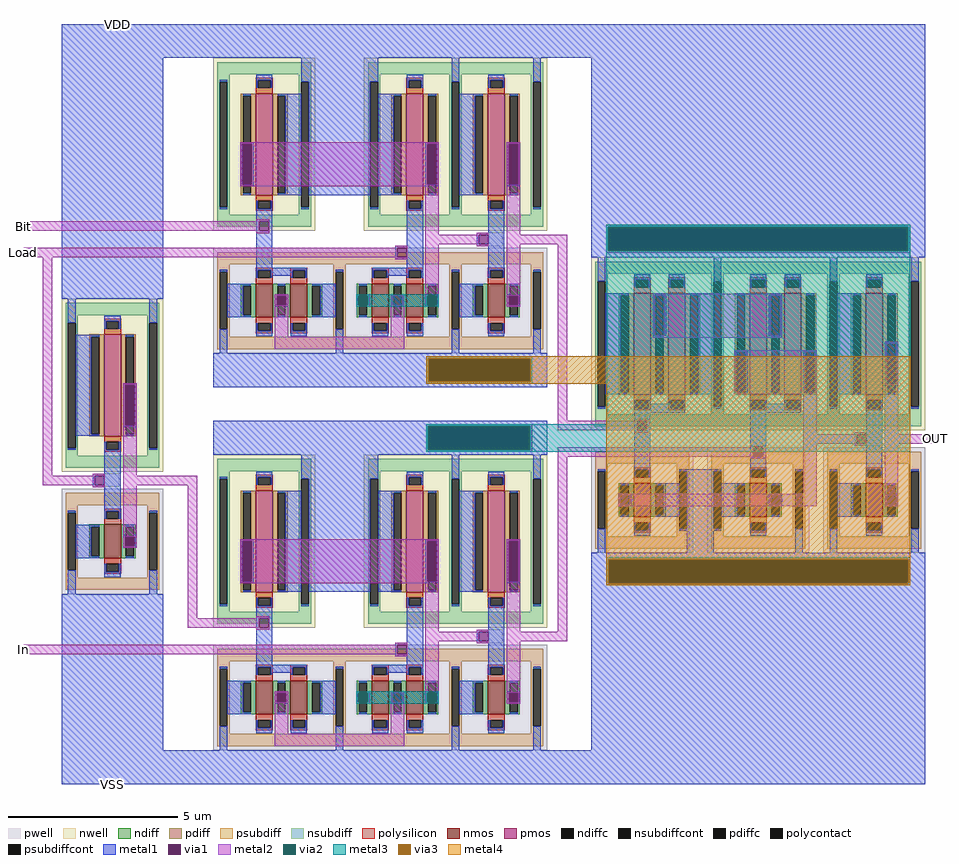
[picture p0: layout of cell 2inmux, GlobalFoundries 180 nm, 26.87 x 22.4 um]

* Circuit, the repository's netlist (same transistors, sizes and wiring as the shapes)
* NGSPICE file created from 2inmux.ext - technology: gf180mcuD

.subckt or2 VDD VSS OUT A B
X0 OUT a_268_670# VSS VSS nfet_03v3 ad=0.44p pd=2.88u as=0.44p ps=2.88u w=1u l=0.5u
X1 OUT a_268_670# VDD VDD pfet_03v3 ad=1.32p pd=6.88u as=1.32p ps=6.88u w=3u l=0.5u
X2 a_456_1390# A VDD VDD pfet_03v3 ad=0.78p pd=3.52u as=1.32p ps=6.88u w=3u l=0.5u
X3 a_456_1390# B a_268_670# VDD pfet_03v3 ad=0.78p pd=3.52u as=1.32p ps=6.88u w=3u l=0.5u
X4 a_268_670# B a_456_1390# VDD pfet_03v3 ad=1.32p pd=6.88u as=0.78p ps=3.52u w=3u l=0.5u
X5 VSS A a_268_670# VSS nfet_03v3 ad=0.44p pd=2.88u as=0.44p ps=2.88u w=1u l=0.5u
X6 VDD A a_456_1390# VDD pfet_03v3 ad=1.32p pd=6.88u as=0.78p ps=3.52u w=3u l=0.5u
X7 a_268_670# B VSS VSS nfet_03v3 ad=0.44p pd=2.88u as=0.44p ps=2.88u w=1u l=0.5u
.ends

.subckt inv2 in vdd out vss
X0 out in vdd vdd pfet_03v3 ad=1.32p pd=6.88u as=1.32p ps=6.88u w=3u l=0.5u
X1 out in vss vss nfet_03v3 ad=0.44p pd=2.88u as=0.44p ps=2.88u w=1u l=0.5u
.ends

.subckt and2 VDD OUT A B VSS
X0 a_n1203_400# B a_n1391_1120# VSS nfet_03v3 ad=0.26p pd=1.52u as=0.44p ps=2.88u w=1u l=0.5u
X1 a_n1203_400# A VSS VSS nfet_03v3 ad=0.26p pd=1.52u as=0.44p ps=2.88u w=1u l=0.5u
X2 a_n1391_1120# B VDD VDD pfet_03v3 ad=1.32p pd=6.88u as=1.32p ps=6.88u w=3u l=0.5u
X3 OUT a_n1391_1120# VDD VDD pfet_03v3 ad=1.32p pd=6.88u as=1.32p ps=6.88u w=3u l=0.5u
X4 OUT a_n1391_1120# VSS VSS nfet_03v3 ad=0.44p pd=2.88u as=0.44p ps=2.88u w=1u l=0.5u
X5 VSS A a_n1203_400# VSS nfet_03v3 ad=0.44p pd=2.88u as=0.26p ps=1.52u w=1u l=0.5u
X6 VDD A a_n1391_1120# VDD pfet_03v3 ad=1.32p pd=6.88u as=1.32p ps=6.88u w=3u l=0.5u
X7 a_n1391_1120# B a_n1203_400# VSS nfet_03v3 ad=0.44p pd=2.88u as=0.26p ps=1.52u w=1u l=0.5u
.ends

.subckt x2inmux Bit Load VDD OUT VSS In
Xor2_0 VDD VSS OUT or2_0/A or2_0/B or2
Xinv2_0 Load VDD and2_1/A VSS inv2
Xand2_0 VDD or2_0/A Bit Load VSS and2
Xand2_1 VDD or2_0/B and2_1/A In VSS and2
.ends

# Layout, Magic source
magic
tech gf180mcuD
magscale 1 10
<< metal1 >>
rect -800 1940 96 2140
rect 2062 1940 4290 2140
rect -800 720 -200 1940
rect 2322 967 4290 1940
rect 2412 804 2422 944
rect 4190 804 4200 944
rect 1352 30 1362 170
rect 1962 30 1972 170
rect 1352 -370 1362 -230
rect 1962 -370 1972 -230
rect 2412 -1156 2422 -1016
rect 4190 -1156 4200 -1016
rect -800 -2140 -200 -1420
rect 2322 -2140 4290 -1179
rect -800 -2340 96 -2140
rect 2062 -2340 4290 -2140
<< via1 >>
rect 2422 804 4190 944
rect 1362 30 1962 170
rect 1362 -370 1962 -230
rect 2422 -1156 4190 -1016
<< metal2 >>
rect -1024 920 0 976
rect 2410 944 4202 956
rect 2069 842 2181 898
rect -1024 764 0 820
rect -912 -522 -856 764
rect 1350 170 1974 182
rect 1350 30 1362 170
rect 1962 30 1974 170
rect 1350 18 1974 30
rect 2125 -200 2181 842
rect 2410 804 2422 944
rect 4190 804 4202 944
rect 2410 792 4202 804
rect 1350 -230 1974 -218
rect 1350 -370 1362 -230
rect 1962 -370 1974 -230
rect 2125 -256 2318 -200
rect 4294 -334 4350 -278
rect 1350 -382 1974 -370
rect 2125 -412 2263 -356
rect -912 -578 -800 -522
rect -200 -578 0 -522
rect -56 -1420 0 -578
rect 2125 -1442 2181 -412
rect 2410 -1016 4202 -1004
rect 2410 -1156 2422 -1016
rect 4190 -1156 4202 -1016
rect 2410 -1168 4202 -1156
rect 2069 -1498 2181 -1442
rect -1024 -1576 0 -1520
<< via2 >>
rect 1362 30 1962 170
rect 2422 804 4190 944
rect 1362 -370 1962 -230
rect 2422 -1156 4190 -1016
<< metal3 >>
rect 2410 944 4202 956
rect 2410 804 2422 944
rect 4190 804 4202 944
rect 1350 170 1974 182
rect 1350 30 1362 170
rect 1962 30 1974 170
rect 1350 18 1974 30
rect 2410 -218 4202 804
rect 1350 -230 4202 -218
rect 1350 -370 1362 -230
rect 1962 -370 4202 -230
rect 1350 -382 4202 -370
rect 2410 -1016 4202 -1004
rect 2410 -1156 2422 -1016
rect 4190 -1156 4202 -1016
rect 2410 -1168 4202 -1156
<< via3 >>
rect 1362 30 1962 170
rect 2422 -1156 4190 -1016
<< metal4 >>
rect 1350 170 4202 182
rect 1350 30 1362 170
rect 1962 30 4202 170
rect 1350 18 4202 30
rect 2410 -1016 4202 18
rect 2410 -1156 2422 -1016
rect 4190 -1156 4202 -1016
rect 2410 -1168 4202 -1156
use and2  and2_0
transform 1 0 1647 0 1 10
box -1647 -10 422 2130
use and2  and2_1
transform 1 0 1647 0 1 -2330
box -1647 -10 422 2130
use inv2  inv2_0
transform 1 0 -2050 0 1 -50
box 1250 -1370 1850 770
use or2  or2_0
transform 1 0 2216 0 1 -1436
box 46 257 2078 2403
<< labels >>
rlabel metal2 -1024 947 -1024 947 7 Bit
port 0 w
rlabel metal2 -1024 791 -1024 791 7 Load
port 1 w
rlabel metal1 -469 2140 -469 2140 1 VDD
port 2 n
rlabel metal2 4350 -306 4350 -306 3 OUT
port 3 e
rlabel metal1 -500 -2340 -500 -2340 5 VSS
port 4 s
rlabel metal2 -1024 -1549 -1024 -1549 7 In
port 5 w
<< end >>

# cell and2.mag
magic
tech gf180mcuD
magscale 1 10
<< nwell >>
rect -1553 910 -953 1930
rect -665 910 415 1930
<< pwell >>
rect 67 821 153 901
rect -1553 190 415 810
<< nmos >>
rect -1303 400 -1203 600
rect -1099 400 -999 600
rect -619 400 -519 600
rect -415 400 -315 600
rect 65 400 165 600
<< pmos >>
rect -1303 1120 -1203 1720
rect -415 1120 -315 1720
rect 65 1120 165 1720
<< ndiff >>
rect -1391 587 -1303 600
rect -1391 413 -1378 587
rect -1332 413 -1303 587
rect -1391 400 -1303 413
rect -1203 587 -1099 600
rect -1203 413 -1174 587
rect -1128 413 -1099 587
rect -1203 400 -1099 413
rect -999 587 -911 600
rect -999 413 -970 587
rect -924 413 -911 587
rect -999 400 -911 413
rect -707 587 -619 600
rect -707 413 -694 587
rect -648 413 -619 587
rect -707 400 -619 413
rect -519 587 -415 600
rect -519 413 -490 587
rect -444 413 -415 587
rect -519 400 -415 413
rect -315 587 -227 600
rect -315 413 -286 587
rect -240 413 -227 587
rect -315 400 -227 413
rect -23 587 65 600
rect -23 413 -10 587
rect 36 413 65 587
rect -23 400 65 413
rect 165 587 253 600
rect 165 413 194 587
rect 240 413 253 587
rect 165 400 253 413
<< pdiff >>
rect -1391 1707 -1303 1720
rect -1391 1133 -1378 1707
rect -1332 1133 -1303 1707
rect -1391 1120 -1303 1133
rect -1203 1707 -1115 1720
rect -1203 1133 -1174 1707
rect -1128 1133 -1115 1707
rect -1203 1120 -1115 1133
rect -503 1707 -415 1720
rect -503 1133 -490 1707
rect -444 1133 -415 1707
rect -503 1120 -415 1133
rect -315 1707 -227 1720
rect -315 1133 -286 1707
rect -240 1133 -227 1707
rect -315 1120 -227 1133
rect -23 1707 65 1720
rect -23 1133 -10 1707
rect 36 1133 65 1707
rect -23 1120 65 1133
rect 165 1707 253 1720
rect 165 1133 194 1707
rect 240 1133 253 1707
rect 165 1120 253 1133
<< ndiffc >>
rect -1378 413 -1332 587
rect -1174 413 -1128 587
rect -970 413 -924 587
rect -694 413 -648 587
rect -490 413 -444 587
rect -286 413 -240 587
rect -10 413 36 587
rect 194 413 240 587
<< pdiffc >>
rect -1378 1133 -1332 1707
rect -1174 1133 -1128 1707
rect -490 1133 -444 1707
rect -286 1133 -240 1707
rect -10 1133 36 1707
rect 194 1133 240 1707
<< psubdiff >>
rect -1529 714 391 786
rect -1529 670 -1457 714
rect -1529 330 -1516 670
rect -1470 330 -1457 670
rect -845 670 -773 714
rect -1529 286 -1457 330
rect -845 330 -832 670
rect -786 330 -773 670
rect -161 670 -89 714
rect -845 286 -773 330
rect -161 330 -148 670
rect -102 330 -89 670
rect 319 670 391 714
rect -161 286 -89 330
rect 319 330 332 670
rect 378 330 391 670
rect 319 286 391 330
rect -1529 214 391 286
<< nsubdiff >>
rect -1529 1834 -977 1906
rect -1529 1790 -1457 1834
rect -1529 1050 -1516 1790
rect -1470 1050 -1457 1790
rect -1049 1790 -977 1834
rect -1529 1006 -1457 1050
rect -1049 1050 -1036 1790
rect -990 1050 -977 1790
rect -1049 1006 -977 1050
rect -1529 934 -977 1006
rect -641 1834 391 1906
rect -641 1790 -569 1834
rect -641 1050 -628 1790
rect -582 1050 -569 1790
rect -161 1790 -89 1834
rect -641 1006 -569 1050
rect -161 1050 -148 1790
rect -102 1050 -89 1790
rect 319 1790 391 1834
rect -161 1006 -89 1050
rect 319 1050 332 1790
rect 378 1050 391 1790
rect 319 1006 391 1050
rect -641 934 391 1006
<< psubdiffcont >>
rect -1516 330 -1470 670
rect -832 330 -786 670
rect -148 330 -102 670
rect 332 330 378 670
<< nsubdiffcont >>
rect -1516 1050 -1470 1790
rect -1036 1050 -990 1790
rect -628 1050 -582 1790
rect -148 1050 -102 1790
rect 332 1050 378 1790
<< polysilicon >>
rect -1303 1799 -1203 1812
rect -1303 1753 -1290 1799
rect -1216 1753 -1203 1799
rect -1303 1720 -1203 1753
rect -1303 1087 -1203 1120
rect -1303 1041 -1290 1087
rect -1216 1041 -1203 1087
rect -1303 1028 -1203 1041
rect -415 1799 -315 1812
rect -415 1753 -402 1799
rect -328 1753 -315 1799
rect -415 1720 -315 1753
rect -415 1087 -315 1120
rect -415 1041 -402 1087
rect -328 1041 -315 1087
rect -415 1028 -315 1041
rect 65 1799 165 1812
rect 65 1753 78 1799
rect 152 1753 165 1799
rect 65 1720 165 1753
rect 65 1087 165 1120
rect 65 1041 78 1087
rect 152 1041 165 1087
rect 65 1028 165 1041
rect -1303 679 -1203 692
rect -1303 633 -1290 679
rect -1216 633 -1203 679
rect -1303 600 -1203 633
rect -1099 679 -999 692
rect -1099 633 -1086 679
rect -1012 633 -999 679
rect -1099 600 -999 633
rect -1303 367 -1203 400
rect -1303 321 -1290 367
rect -1216 321 -1203 367
rect -1303 308 -1203 321
rect -1099 367 -999 400
rect -1099 321 -1086 367
rect -1012 321 -999 367
rect -1099 308 -999 321
rect -619 679 -519 692
rect -619 633 -606 679
rect -532 633 -519 679
rect -619 600 -519 633
rect -415 679 -315 692
rect -415 633 -402 679
rect -328 633 -315 679
rect -415 600 -315 633
rect -619 367 -519 400
rect -619 321 -606 367
rect -532 321 -519 367
rect -619 308 -519 321
rect -415 367 -315 400
rect -415 321 -402 367
rect -328 321 -315 367
rect -415 308 -315 321
rect 65 679 165 692
rect 65 633 78 679
rect 152 633 165 679
rect 65 600 165 633
rect 65 367 165 400
rect 65 321 78 367
rect 152 321 165 367
rect 65 308 165 321
<< polycontact >>
rect -1290 1753 -1216 1799
rect -1290 1041 -1216 1087
rect -402 1753 -328 1799
rect -402 1041 -328 1087
rect 78 1753 152 1799
rect 78 1041 152 1087
rect -1290 633 -1216 679
rect -1086 633 -1012 679
rect -1290 321 -1216 367
rect -1086 321 -1012 367
rect -606 633 -532 679
rect -402 633 -328 679
rect -606 321 -532 367
rect -402 321 -328 367
rect 78 633 152 679
rect 78 321 152 367
<< metal1 >>
rect -1553 1930 415 2130
rect -1516 1790 -1470 1801
rect -1301 1799 -1205 1830
rect -1301 1753 -1290 1799
rect -1216 1753 -1205 1799
rect -1036 1790 -582 1930
rect -1378 1707 -1332 1718
rect -1395 1423 -1378 1433
rect -1174 1707 -1036 1718
rect -1332 1423 -1315 1433
rect -1395 1183 -1383 1423
rect -1327 1183 -1315 1423
rect -1395 1173 -1378 1183
rect -1332 1173 -1315 1183
rect -1378 1122 -1332 1133
rect -1128 1133 -1036 1707
rect -1174 1122 -1036 1133
rect -1516 1039 -1470 1050
rect -1301 1041 -1290 1087
rect -1216 1041 -1205 1087
rect -1301 966 -1205 1041
rect -990 1122 -628 1790
rect -1036 1039 -990 1050
rect -413 1799 -317 1830
rect -413 1753 -402 1799
rect -328 1753 -317 1799
rect -148 1790 -102 1930
rect -582 1707 -444 1718
rect -582 1133 -490 1707
rect -286 1707 -240 1718
rect -303 1423 -286 1433
rect -240 1423 -223 1433
rect -303 1183 -291 1423
rect -235 1183 -223 1423
rect -303 1173 -286 1183
rect -582 1122 -444 1133
rect -240 1173 -223 1183
rect -286 1122 -240 1133
rect -628 1039 -582 1050
rect -413 1041 -402 1087
rect -328 1041 -317 1087
rect -1301 910 -1281 966
rect -1225 910 -1205 966
rect -1301 692 -1205 910
rect -413 822 -317 1041
rect 67 1799 163 1830
rect 67 1753 78 1799
rect 152 1753 163 1799
rect 332 1790 378 1930
rect -102 1707 36 1718
rect -102 1133 -10 1707
rect 194 1707 240 1718
rect 177 1423 194 1433
rect 240 1423 257 1433
rect 177 1183 189 1423
rect 245 1183 257 1423
rect 177 1173 194 1183
rect -102 1122 36 1133
rect 240 1173 257 1183
rect 194 1122 240 1133
rect -148 1039 -102 1050
rect 67 1041 78 1087
rect 152 1041 163 1087
rect 67 900 163 1041
rect 332 1039 378 1050
rect -481 810 -317 822
rect -1 888 163 900
rect -1 832 11 888
rect 67 832 163 888
rect -1 820 163 832
rect -481 754 -469 810
rect -413 754 -317 810
rect -481 742 -317 754
rect -413 692 -317 742
rect -1516 670 -1470 681
rect -1301 679 -1001 692
rect -1301 633 -1290 679
rect -1216 646 -1086 679
rect -1216 633 -1205 646
rect -1097 633 -1086 646
rect -1012 633 -1001 679
rect -832 670 -786 681
rect -1470 587 -1332 598
rect -1470 413 -1378 587
rect -1174 587 -1128 598
rect -1191 528 -1174 538
rect -970 587 -832 598
rect -1128 528 -1111 538
rect -1191 472 -1179 528
rect -1123 472 -1111 528
rect -1191 462 -1174 472
rect -1470 402 -1332 413
rect -1128 462 -1111 472
rect -1174 402 -1128 413
rect -924 413 -832 587
rect -970 402 -832 413
rect -1516 190 -1470 330
rect -1301 321 -1290 367
rect -1216 321 -1205 367
rect -1301 290 -1205 321
rect -1097 321 -1086 367
rect -1012 321 -1001 367
rect -1097 290 -1001 321
rect -617 679 -317 692
rect -617 633 -606 679
rect -532 646 -402 679
rect -532 633 -521 646
rect -413 633 -402 646
rect -328 633 -317 679
rect -148 670 -102 681
rect -694 587 -648 598
rect -711 528 -694 538
rect -490 587 -444 598
rect -648 528 -631 538
rect -711 472 -699 528
rect -643 472 -631 528
rect -711 462 -694 472
rect -648 462 -631 472
rect -507 528 -490 538
rect -286 587 -240 598
rect -444 528 -427 538
rect -507 472 -495 528
rect -439 472 -427 528
rect -507 462 -490 472
rect -694 402 -648 413
rect -444 462 -427 472
rect -303 528 -286 538
rect -240 528 -223 538
rect -303 472 -291 528
rect -235 472 -223 528
rect -303 462 -286 472
rect -490 402 -444 413
rect -240 462 -223 472
rect -286 402 -240 413
rect -832 190 -786 330
rect -617 321 -606 367
rect -532 321 -521 367
rect -617 290 -521 321
rect -413 321 -402 367
rect -328 321 -317 367
rect -413 290 -317 321
rect 67 679 163 820
rect 67 633 78 679
rect 152 633 163 679
rect 332 670 378 681
rect -102 587 36 598
rect -102 413 -10 587
rect 194 587 240 598
rect 177 528 194 538
rect 240 528 257 538
rect 177 472 189 528
rect 245 472 257 528
rect 177 462 194 472
rect -102 402 36 413
rect 240 462 257 472
rect 194 402 240 413
rect -148 190 -102 330
rect 67 321 78 367
rect 152 321 163 367
rect 67 290 163 321
rect 332 190 378 330
rect -1553 -10 415 190
<< via1 >>
rect -1383 1183 -1378 1423
rect -1378 1183 -1332 1423
rect -1332 1183 -1327 1423
rect -291 1183 -286 1423
rect -286 1183 -240 1423
rect -240 1183 -235 1423
rect -1281 910 -1225 966
rect 189 1183 194 1423
rect 194 1183 240 1423
rect 240 1183 245 1423
rect 11 832 67 888
rect -469 754 -413 810
rect -1179 472 -1174 528
rect -1174 472 -1128 528
rect -1128 472 -1123 528
rect -699 472 -694 528
rect -694 472 -648 528
rect -648 472 -643 528
rect -495 472 -490 528
rect -490 472 -444 528
rect -444 472 -439 528
rect -291 472 -286 528
rect -286 472 -240 528
rect -240 472 -235 528
rect 189 472 194 528
rect 194 472 240 528
rect 240 472 245 528
<< metal2 >>
rect -1395 1423 -223 1433
rect -1395 1183 -1383 1423
rect -1327 1183 -291 1423
rect -235 1183 -223 1423
rect -1395 1173 -223 1183
rect -1301 966 -1223 978
rect -1647 910 -1281 966
rect -1225 910 -1223 966
rect -1301 898 -1223 910
rect -303 888 -223 1173
rect 177 1423 257 1433
rect 177 1183 189 1423
rect 245 1183 257 1423
rect -1 888 69 900
rect -303 832 11 888
rect 67 832 69 888
rect -481 810 -411 822
rect -1647 754 -469 810
rect -413 754 -411 810
rect -481 742 -411 754
rect -1191 528 -1111 538
rect -1191 472 -1179 528
rect -1123 472 -1111 528
rect -1191 286 -1111 472
rect -711 528 -631 538
rect -711 472 -699 528
rect -643 472 -631 528
rect -711 462 -631 472
rect -507 528 -427 538
rect -507 472 -495 528
rect -439 472 -427 528
rect -507 286 -427 472
rect -303 528 -223 832
rect -1 820 69 832
rect 177 888 257 1183
rect 177 832 422 888
rect -303 472 -291 528
rect -235 472 -223 528
rect -303 462 -223 472
rect 177 528 257 832
rect 177 472 189 528
rect 245 472 257 528
rect 177 462 257 472
rect -1191 214 -427 286
<< via2 >>
rect -699 472 -643 528
rect -291 472 -235 528
<< metal3 >>
rect -711 528 -223 538
rect -711 472 -699 528
rect -643 472 -291 528
rect -235 472 -223 528
rect -711 462 -223 472
<< labels >>
rlabel metal1 -580 2130 -580 2130 1 VDD
port 0 n
rlabel metal2 422 858 422 858 3 OUT
port 1 e
rlabel metal2 -1647 937 -1647 937 7 A
port 2 w
rlabel metal2 -1647 782 -1647 782 7 B
port 3 w
rlabel metal1 -521 -10 -521 -10 5 VSS
port 4 s
<< end >>

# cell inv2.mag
magic
tech gf180mcuD
magscale 1 10
<< nwell >>
rect 1250 -450 1850 570
<< pwell >>
rect 1502 -539 1588 -459
rect 1250 -1170 1850 -550
<< nmos >>
rect 1500 -960 1600 -760
<< pmos >>
rect 1500 -240 1600 360
<< ndiff >>
rect 1412 -773 1500 -760
rect 1412 -947 1425 -773
rect 1471 -947 1500 -773
rect 1412 -960 1500 -947
rect 1600 -773 1688 -760
rect 1600 -947 1629 -773
rect 1675 -947 1688 -773
rect 1600 -960 1688 -947
<< pdiff >>
rect 1412 347 1500 360
rect 1412 -227 1425 347
rect 1471 -227 1500 347
rect 1412 -240 1500 -227
rect 1600 347 1688 360
rect 1600 -227 1629 347
rect 1675 -227 1688 347
rect 1600 -240 1688 -227
<< ndiffc >>
rect 1425 -947 1471 -773
rect 1629 -947 1675 -773
<< pdiffc >>
rect 1425 -227 1471 347
rect 1629 -227 1675 347
<< psubdiff >>
rect 1274 -646 1826 -574
rect 1274 -690 1346 -646
rect 1274 -1030 1287 -690
rect 1333 -1030 1346 -690
rect 1754 -690 1826 -646
rect 1274 -1074 1346 -1030
rect 1754 -1030 1767 -690
rect 1813 -1030 1826 -690
rect 1754 -1074 1826 -1030
rect 1274 -1146 1826 -1074
<< nsubdiff >>
rect 1274 474 1826 546
rect 1274 430 1346 474
rect 1274 -310 1287 430
rect 1333 -310 1346 430
rect 1754 430 1826 474
rect 1274 -354 1346 -310
rect 1754 -310 1767 430
rect 1813 -310 1826 430
rect 1754 -354 1826 -310
rect 1274 -426 1826 -354
<< psubdiffcont >>
rect 1287 -1030 1333 -690
rect 1767 -1030 1813 -690
<< nsubdiffcont >>
rect 1287 -310 1333 430
rect 1767 -310 1813 430
<< polysilicon >>
rect 1500 439 1600 452
rect 1500 393 1513 439
rect 1587 393 1600 439
rect 1500 360 1600 393
rect 1500 -273 1600 -240
rect 1500 -319 1513 -273
rect 1587 -319 1600 -273
rect 1500 -332 1600 -319
rect 1500 -681 1600 -668
rect 1500 -727 1513 -681
rect 1587 -727 1600 -681
rect 1500 -760 1600 -727
rect 1500 -993 1600 -960
rect 1500 -1039 1513 -993
rect 1587 -1039 1600 -993
rect 1500 -1052 1600 -1039
<< polycontact >>
rect 1513 393 1587 439
rect 1513 -319 1587 -273
rect 1513 -727 1587 -681
rect 1513 -1039 1587 -993
<< metal1 >>
rect 1250 570 1850 770
rect 1287 430 1333 570
rect 1502 439 1598 470
rect 1502 393 1513 439
rect 1587 393 1598 439
rect 1767 430 1813 570
rect 1333 347 1471 358
rect 1333 -227 1425 347
rect 1629 347 1675 358
rect 1612 63 1629 73
rect 1675 63 1692 73
rect 1612 -177 1624 63
rect 1680 -177 1692 63
rect 1612 -187 1629 -177
rect 1333 -238 1471 -227
rect 1675 -187 1692 -177
rect 1629 -238 1675 -227
rect 1287 -321 1333 -310
rect 1502 -319 1513 -273
rect 1587 -319 1598 -273
rect 1502 -460 1598 -319
rect 1767 -321 1813 -310
rect 1434 -472 1598 -460
rect 1434 -528 1446 -472
rect 1502 -528 1598 -472
rect 1434 -540 1598 -528
rect 1287 -690 1333 -679
rect 1502 -681 1598 -540
rect 1502 -727 1513 -681
rect 1587 -727 1598 -681
rect 1767 -690 1813 -679
rect 1333 -773 1471 -762
rect 1333 -947 1425 -773
rect 1629 -773 1675 -762
rect 1612 -832 1629 -822
rect 1675 -832 1692 -822
rect 1612 -888 1624 -832
rect 1680 -888 1692 -832
rect 1612 -898 1629 -888
rect 1333 -958 1471 -947
rect 1675 -898 1692 -888
rect 1629 -958 1675 -947
rect 1287 -1170 1333 -1030
rect 1502 -1039 1513 -993
rect 1587 -1039 1598 -993
rect 1502 -1070 1598 -1039
rect 1767 -1170 1813 -1030
rect 1250 -1370 1850 -1170
<< via1 >>
rect 1624 -177 1629 63
rect 1629 -177 1675 63
rect 1675 -177 1680 63
rect 1446 -528 1502 -472
rect 1624 -888 1629 -832
rect 1629 -888 1675 -832
rect 1675 -888 1680 -832
<< metal2 >>
rect 1612 63 1692 73
rect 1612 -177 1624 63
rect 1680 -177 1692 63
rect 1434 -472 1504 -460
rect 1250 -528 1446 -472
rect 1502 -528 1504 -472
rect 1434 -540 1504 -528
rect 1612 -472 1692 -177
rect 1612 -528 1850 -472
rect 1612 -832 1692 -528
rect 1612 -888 1624 -832
rect 1680 -888 1692 -832
rect 1612 -898 1692 -888
<< labels >>
rlabel metal2 1250 -499 1250 -499 7 in
port 0 w
rlabel metal1 1545 770 1545 770 1 vdd
port 1 n
rlabel metal2 1850 -499 1850 -499 3 out
port 2 e
rlabel metal1 1555 -1370 1555 -1370 5 vss
port 3 s
<< end >>

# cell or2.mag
magic
tech gf180mcuD
magscale 1 10
<< nwell >>
rect 106 1180 2074 2200
<< pwell >>
rect 1726 1091 1812 1171
rect 106 460 706 1080
rect 790 990 1390 1080
rect 790 732 1436 990
rect 790 460 1390 732
rect 1474 460 2074 1080
<< nmos >>
rect 356 670 456 870
rect 1040 670 1140 870
rect 1724 670 1824 870
<< pmos >>
rect 356 1390 456 1990
rect 560 1390 660 1990
rect 1040 1390 1140 1990
rect 1244 1390 1344 1990
rect 1724 1390 1824 1990
<< ndiff >>
rect 268 857 356 870
rect 268 683 281 857
rect 327 683 356 857
rect 268 670 356 683
rect 456 857 544 870
rect 456 683 485 857
rect 531 683 544 857
rect 456 670 544 683
rect 952 857 1040 870
rect 952 683 965 857
rect 1011 683 1040 857
rect 952 670 1040 683
rect 1140 857 1228 870
rect 1140 683 1169 857
rect 1215 683 1228 857
rect 1140 670 1228 683
rect 1636 857 1724 870
rect 1636 683 1649 857
rect 1695 683 1724 857
rect 1636 670 1724 683
rect 1824 857 1912 870
rect 1824 683 1853 857
rect 1899 683 1912 857
rect 1824 670 1912 683
<< pdiff >>
rect 268 1977 356 1990
rect 268 1403 281 1977
rect 327 1403 356 1977
rect 268 1390 356 1403
rect 456 1977 560 1990
rect 456 1403 485 1977
rect 531 1403 560 1977
rect 456 1390 560 1403
rect 660 1977 748 1990
rect 660 1403 689 1977
rect 735 1403 748 1977
rect 660 1390 748 1403
rect 952 1977 1040 1990
rect 952 1403 965 1977
rect 1011 1403 1040 1977
rect 952 1390 1040 1403
rect 1140 1977 1244 1990
rect 1140 1403 1169 1977
rect 1215 1403 1244 1977
rect 1140 1390 1244 1403
rect 1344 1977 1432 1990
rect 1344 1403 1373 1977
rect 1419 1403 1432 1977
rect 1344 1390 1432 1403
rect 1636 1977 1724 1990
rect 1636 1403 1649 1977
rect 1695 1403 1724 1977
rect 1636 1390 1724 1403
rect 1824 1977 1912 1990
rect 1824 1403 1853 1977
rect 1899 1403 1912 1977
rect 1824 1390 1912 1403
<< ndiffc >>
rect 281 683 327 857
rect 485 683 531 857
rect 965 683 1011 857
rect 1169 683 1215 857
rect 1649 683 1695 857
rect 1853 683 1899 857
<< pdiffc >>
rect 281 1403 327 1977
rect 485 1403 531 1977
rect 689 1403 735 1977
rect 965 1403 1011 1977
rect 1169 1403 1215 1977
rect 1373 1403 1419 1977
rect 1649 1403 1695 1977
rect 1853 1403 1899 1977
<< psubdiff >>
rect 130 984 682 1056
rect 130 940 202 984
rect 130 600 143 940
rect 189 600 202 940
rect 610 940 682 984
rect 130 556 202 600
rect 610 600 623 940
rect 669 600 682 940
rect 610 556 682 600
rect 130 484 682 556
rect 814 984 1366 1056
rect 814 940 886 984
rect 814 600 827 940
rect 873 600 886 940
rect 1294 940 1366 984
rect 814 556 886 600
rect 1294 600 1307 940
rect 1353 600 1366 940
rect 1294 556 1366 600
rect 814 484 1366 556
rect 1498 984 2050 1056
rect 1498 940 1570 984
rect 1498 600 1511 940
rect 1557 600 1570 940
rect 1978 940 2050 984
rect 1498 556 1570 600
rect 1978 600 1991 940
rect 2037 600 2050 940
rect 1978 556 2050 600
rect 1498 484 2050 556
<< nsubdiff >>
rect 130 2104 2050 2176
rect 130 2060 202 2104
rect 130 1320 143 2060
rect 189 1320 202 2060
rect 814 2060 886 2104
rect 130 1276 202 1320
rect 814 1320 827 2060
rect 873 1320 886 2060
rect 1498 2060 1570 2104
rect 814 1276 886 1320
rect 1498 1320 1511 2060
rect 1557 1320 1570 2060
rect 1978 2060 2050 2104
rect 1498 1276 1570 1320
rect 1978 1320 1991 2060
rect 2037 1320 2050 2060
rect 1978 1276 2050 1320
rect 130 1204 2050 1276
<< psubdiffcont >>
rect 143 600 189 940
rect 623 600 669 940
rect 827 600 873 940
rect 1307 600 1353 940
rect 1511 600 1557 940
rect 1991 600 2037 940
<< nsubdiffcont >>
rect 143 1320 189 2060
rect 827 1320 873 2060
rect 1511 1320 1557 2060
rect 1991 1320 2037 2060
<< polysilicon >>
rect 356 2069 456 2082
rect 356 2023 369 2069
rect 443 2023 456 2069
rect 356 1990 456 2023
rect 560 2069 660 2082
rect 560 2023 573 2069
rect 647 2023 660 2069
rect 560 1990 660 2023
rect 356 1357 456 1390
rect 356 1311 369 1357
rect 443 1311 456 1357
rect 356 1298 456 1311
rect 560 1357 660 1390
rect 560 1311 573 1357
rect 647 1311 660 1357
rect 560 1298 660 1311
rect 1040 2069 1140 2082
rect 1040 2023 1053 2069
rect 1127 2023 1140 2069
rect 1040 1990 1140 2023
rect 1244 2069 1344 2082
rect 1244 2023 1257 2069
rect 1331 2023 1344 2069
rect 1244 1990 1344 2023
rect 1040 1357 1140 1390
rect 1040 1311 1053 1357
rect 1127 1311 1140 1357
rect 1040 1298 1140 1311
rect 1244 1357 1344 1390
rect 1244 1311 1257 1357
rect 1331 1311 1344 1357
rect 1244 1298 1344 1311
rect 1724 2069 1824 2082
rect 1724 2023 1737 2069
rect 1811 2023 1824 2069
rect 1724 1990 1824 2023
rect 1724 1357 1824 1390
rect 1724 1311 1737 1357
rect 1811 1311 1824 1357
rect 1724 1298 1824 1311
rect 356 949 456 962
rect 356 903 369 949
rect 443 903 456 949
rect 356 870 456 903
rect 356 637 456 670
rect 356 591 369 637
rect 443 591 456 637
rect 356 578 456 591
rect 1040 949 1140 962
rect 1040 903 1053 949
rect 1127 903 1140 949
rect 1040 870 1140 903
rect 1040 637 1140 670
rect 1040 591 1053 637
rect 1127 591 1140 637
rect 1040 578 1140 591
rect 1724 949 1824 962
rect 1724 903 1737 949
rect 1811 903 1824 949
rect 1724 870 1824 903
rect 1724 637 1824 670
rect 1724 591 1737 637
rect 1811 591 1824 637
rect 1724 578 1824 591
<< polycontact >>
rect 369 2023 443 2069
rect 573 2023 647 2069
rect 369 1311 443 1357
rect 573 1311 647 1357
rect 1053 2023 1127 2069
rect 1257 2023 1331 2069
rect 1053 1311 1127 1357
rect 1257 1311 1331 1357
rect 1737 2023 1811 2069
rect 1737 1311 1811 1357
rect 369 903 443 949
rect 369 591 443 637
rect 1053 903 1127 949
rect 1053 591 1127 637
rect 1737 903 1811 949
rect 1737 591 1811 637
<< metal1 >>
rect 106 2200 2074 2403
rect 143 2060 189 2200
rect 358 2069 454 2100
rect 358 2023 369 2069
rect 443 2023 454 2069
rect 562 2069 658 2100
rect 562 2023 573 2069
rect 647 2023 658 2069
rect 827 2060 873 2200
rect 189 1977 327 1988
rect 485 1977 531 1988
rect 689 1977 827 1988
rect 189 1403 281 1977
rect 468 1737 480 1977
rect 536 1737 548 1977
rect 189 1392 327 1403
rect 485 1392 531 1403
rect 735 1403 827 1977
rect 689 1392 827 1403
rect 143 1309 189 1320
rect 358 1311 369 1357
rect 443 1337 454 1357
rect 562 1337 573 1357
rect 443 1311 573 1337
rect 647 1311 658 1357
rect 358 1284 658 1311
rect 1042 2069 1138 2100
rect 1042 2023 1053 2069
rect 1127 2023 1138 2069
rect 1246 2069 1342 2100
rect 1246 2023 1257 2069
rect 1331 2023 1342 2069
rect 1511 2060 1557 2200
rect 965 1977 1011 1988
rect 1169 1977 1215 1988
rect 1373 1977 1419 1988
rect 1152 1737 1164 1977
rect 1220 1737 1232 1977
rect 948 1403 960 1643
rect 1016 1403 1028 1643
rect 1356 1403 1368 1643
rect 1424 1403 1436 1643
rect 965 1392 1011 1403
rect 1169 1392 1215 1403
rect 1373 1392 1419 1403
rect 827 1309 873 1320
rect 1042 1311 1053 1357
rect 1127 1337 1138 1357
rect 1246 1337 1257 1357
rect 1127 1311 1257 1337
rect 1331 1311 1342 1357
rect 1042 1284 1342 1311
rect 1726 2069 1822 2100
rect 1726 2023 1737 2069
rect 1811 2023 1822 2069
rect 1991 2060 2037 2200
rect 1557 1977 1695 1988
rect 1557 1403 1649 1977
rect 1853 1977 1899 1988
rect 1836 1693 1853 1703
rect 1899 1693 1916 1703
rect 1836 1453 1848 1693
rect 1904 1453 1916 1693
rect 1836 1443 1853 1453
rect 1557 1392 1695 1403
rect 1899 1443 1916 1453
rect 1853 1392 1899 1403
rect 1511 1309 1557 1320
rect 1726 1311 1737 1357
rect 1811 1311 1822 1357
rect 358 1236 454 1284
rect 358 1180 378 1236
rect 434 1180 454 1236
rect 143 940 189 951
rect 358 949 454 1180
rect 1042 1080 1138 1284
rect 1726 1170 1822 1311
rect 1991 1309 2037 1320
rect 1658 1158 1822 1170
rect 1658 1102 1670 1158
rect 1726 1102 1822 1158
rect 1658 1090 1822 1102
rect 1042 1024 1062 1080
rect 1118 1024 1138 1080
rect 358 903 369 949
rect 443 903 454 949
rect 623 940 873 951
rect 281 857 327 868
rect 264 798 281 808
rect 485 857 623 868
rect 327 798 344 808
rect 264 742 276 798
rect 332 742 344 798
rect 264 732 281 742
rect 327 732 344 742
rect 281 672 327 683
rect 531 683 623 857
rect 485 672 623 683
rect 143 460 189 600
rect 358 591 369 637
rect 443 591 454 637
rect 358 560 454 591
rect 669 600 827 940
rect 1042 949 1138 1024
rect 1042 903 1053 949
rect 1127 903 1138 949
rect 1307 940 1353 951
rect 873 857 1011 868
rect 873 683 965 857
rect 1169 857 1215 868
rect 1152 798 1169 808
rect 1215 798 1232 808
rect 1152 742 1164 798
rect 1220 742 1232 798
rect 1152 732 1169 742
rect 873 672 1011 683
rect 1215 732 1232 742
rect 1169 672 1215 683
rect 623 589 873 600
rect 1042 591 1053 637
rect 1127 591 1138 637
rect 669 460 827 589
rect 1042 560 1138 591
rect 1307 460 1353 600
rect 1511 940 1557 951
rect 1726 949 1822 1090
rect 1726 903 1737 949
rect 1811 903 1822 949
rect 1991 940 2037 951
rect 1557 857 1695 868
rect 1557 683 1649 857
rect 1853 857 1899 868
rect 1836 798 1853 808
rect 1899 798 1916 808
rect 1836 742 1848 798
rect 1904 742 1916 798
rect 1836 732 1853 742
rect 1557 672 1695 683
rect 1899 732 1916 742
rect 1853 672 1899 683
rect 1511 460 1557 600
rect 1726 591 1737 637
rect 1811 591 1822 637
rect 1726 560 1822 591
rect 1991 460 2037 600
rect 106 257 2074 460
<< via1 >>
rect 480 1737 485 1977
rect 485 1737 531 1977
rect 531 1737 536 1977
rect 1164 1737 1169 1977
rect 1169 1737 1215 1977
rect 1215 1737 1220 1977
rect 960 1403 965 1643
rect 965 1403 1011 1643
rect 1011 1403 1016 1643
rect 1368 1403 1373 1643
rect 1373 1403 1419 1643
rect 1419 1403 1424 1643
rect 1848 1453 1853 1693
rect 1853 1453 1899 1693
rect 1899 1453 1904 1693
rect 378 1180 434 1236
rect 1670 1102 1726 1158
rect 1062 1024 1118 1080
rect 276 742 281 798
rect 281 742 327 798
rect 327 742 332 798
rect 1164 742 1169 798
rect 1169 742 1215 798
rect 1215 742 1220 798
rect 1848 742 1853 798
rect 1853 742 1899 798
rect 1899 742 1904 798
<< metal2 >>
rect 468 1977 1232 1987
rect 468 1737 480 1977
rect 536 1737 1164 1977
rect 1220 1737 1232 1977
rect 468 1727 1232 1737
rect 1836 1693 1916 1703
rect 948 1643 1436 1653
rect 948 1403 960 1643
rect 1016 1403 1368 1643
rect 1424 1403 1436 1643
rect 948 1393 1436 1403
rect 358 1236 454 1248
rect 46 1180 378 1236
rect 434 1180 454 1236
rect 358 1168 454 1180
rect 1356 1158 1436 1393
rect 1836 1453 1848 1693
rect 1904 1453 1916 1693
rect 1658 1158 1728 1170
rect 1356 1102 1670 1158
rect 1726 1102 1728 1158
rect 1042 1080 1138 1090
rect 46 1024 1062 1080
rect 1118 1024 1138 1080
rect 1042 1014 1138 1024
rect 1356 808 1436 1102
rect 1658 1090 1728 1102
rect 1836 1158 1916 1453
rect 1836 1102 2078 1158
rect 264 798 1436 808
rect 264 742 276 798
rect 332 742 1164 798
rect 1220 742 1436 798
rect 264 732 1436 742
rect 1836 798 1916 1102
rect 1836 742 1848 798
rect 1904 742 1916 798
rect 1836 732 1916 742
<< labels >>
rlabel metal1 1083 2403 1083 2403 1 VDD
port 0 n
rlabel metal1 1098 257 1098 257 5 VSS
port 1 s
rlabel metal2 2078 1130 2078 1130 3 OUT
port 2 e
rlabel metal2 46 1207 46 1207 7 A
port 3 w
rlabel metal2 46 1052 46 1052 7 B
port 4 w
<< end >>
